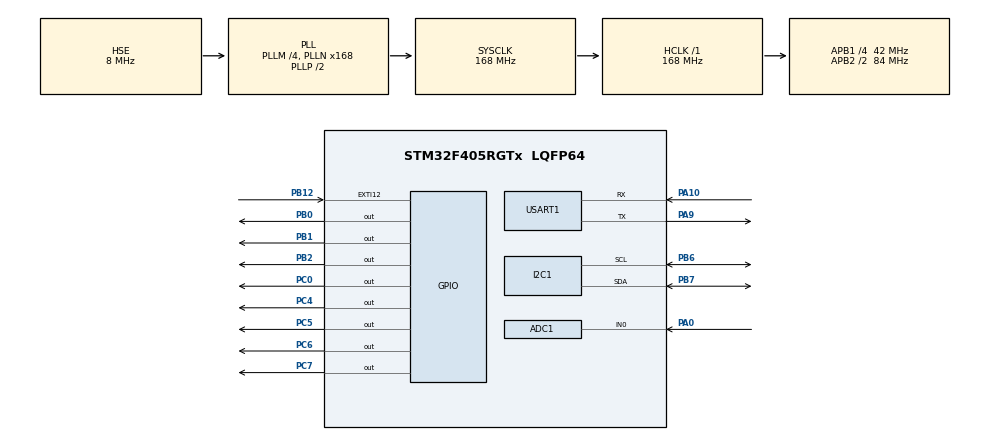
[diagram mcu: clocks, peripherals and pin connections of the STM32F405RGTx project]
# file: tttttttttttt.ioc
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ADC1.Channel-0\#ChannelRegularConversion=ADC_CHANNEL_0
ADC1.ContinuousConvMode=ENABLE
ADC1.DMAContinuousRequests=ENABLE
ADC1.NbrOfConversionFlag=1
ADC1.Rank-0\#ChannelRegularConversion=1
ADC1.SamplingTime-0\#ChannelRegularConversion=ADC_SAMPLETIME_56CYCLES
ADC1.master=1
Dma.ADC1.0.Direction=DMA_PERIPH_TO_MEMORY
Dma.ADC1.0.FIFOMode=DMA_FIFOMODE_DISABLE
Dma.ADC1.0.Instance=DMA2_Stream0
Dma.ADC1.0.MemDataAlignment=DMA_MDATAALIGN_HALFWORD
Dma.ADC1.0.MemInc=DMA_MINC_ENABLE
Dma.ADC1.0.Mode=DMA_CIRCULAR
Dma.ADC1.0.PeriphDataAlignment=DMA_PDATAALIGN_HALFWORD
Dma.ADC1.0.PeriphInc=DMA_PINC_DISABLE
Dma.ADC1.0.Priority=DMA_PRIORITY_LOW
Dma.Request0=ADC1
Dma.Request1=USART1_RX
Dma.Request2=USART1_TX
Dma.USART1_RX.1.Direction=DMA_PERIPH_TO_MEMORY
Dma.USART1_RX.1.FIFOMode=DMA_FIFOMODE_DISABLE
Dma.USART1_RX.1.Instance=DMA2_Stream2
Dma.USART1_RX.1.MemDataAlignment=DMA_MDATAALIGN_BYTE
Dma.USART1_RX.1.MemInc=DMA_MINC_ENABLE
Dma.USART1_RX.1.Mode=DMA_NORMAL
Dma.USART1_RX.1.PeriphDataAlignment=DMA_PDATAALIGN_BYTE
Dma.USART1_RX.1.PeriphInc=DMA_PINC_DISABLE
Dma.USART1_RX.1.Priority=DMA_PRIORITY_LOW
Dma.USART1_TX.2.Direction=DMA_MEMORY_TO_PERIPH
Dma.USART1_TX.2.FIFOMode=DMA_FIFOMODE_DISABLE
Dma.USART1_TX.2.Instance=DMA2_Stream7
Dma.USART1_TX.2.MemDataAlignment=DMA_MDATAALIGN_BYTE
Dma.USART1_TX.2.MemInc=DMA_MINC_ENABLE
Dma.USART1_TX.2.Mode=DMA_NORMAL
Dma.USART1_TX.2.PeriphDataAlignment=DMA_PDATAALIGN_BYTE
Dma.USART1_TX.2.PeriphInc=DMA_PINC_DISABLE
Dma.USART1_TX.2.Priority=DMA_PRIORITY_LOW
I2C1.I2C_Mode=I2C_Fast
Mcu.Family=STM32F4
Mcu.Name=STM32F405RGTx
Mcu.Package=LQFP64
NVIC.DMA2_Stream0_IRQn=true\:0\:0\:false\:false\:true\:false\:true
NVIC.DMA2_Stream2_IRQn=true\:0\:0\:false\:false\:true\:false\:true
NVIC.DMA2_Stream7_IRQn=true\:0\:0\:false\:false\:true\:false\:true
NVIC.PriorityGroup=NVIC_PRIORITYGROUP_4
NVIC.USART1_IRQn=true\:0\:0\:false\:false\:true\:true\:true
PA0-WKUP.Signal=ADCx_IN0
PA10.Mode=Asynchronous
PA10.Signal=USART1_RX
PA13.Mode=Serial_Wire
PA13.Signal=SYS_JTMS-SWDIO
PA14.Mode=Serial_Wire
PA14.Signal=SYS_JTCK-SWCLK
PA9.Mode=Asynchronous
PA9.Signal=USART1_TX
PB0.Signal=GPIO_Output
PB1.Signal=GPIO_Output
PB12.Signal=GPXTI12
PB2.Signal=GPIO_Output
PB6.Mode=I2C
PB6.Signal=I2C1_SCL
PB7.Mode=I2C
PB7.Signal=I2C1_SDA
PC0.Signal=GPIO_Output
PC4.Signal=GPIO_Output
PC5.Signal=GPIO_Output
PC6.Signal=GPIO_Output
PC7.Signal=GPIO_Output
PH0-OSC_IN.Mode=HSE-External-Oscillator
PH0-OSC_IN.Signal=RCC_OSC_IN
PH1-OSC_OUT.Mode=HSE-External-Oscillator
PH1-OSC_OUT.Signal=RCC_OSC_OUT
ProjectManager.HeapSize=0x200
ProjectManager.StackSize=0x400
ProjectManager.TargetToolchain=EWARM V8.32
RCC.48MHZClocksFreq_Value=84000000
RCC.AHBFreq_Value=168000000
RCC.APB1CLKDivider=RCC_HCLK_DIV4
RCC.APB1Freq_Value=42000000
RCC.APB1TimFreq_Value=84000000
RCC.APB2CLKDivider=RCC_HCLK_DIV2
RCC.APB2Freq_Value=84000000
RCC.APB2TimFreq_Value=168000000
RCC.CortexFreq_Value=168000000
RCC.HCLKFreq_Value=168000000
RCC.HSE_VALUE=8000000
RCC.HSI_VALUE=16000000
RCC.LSE_VALUE=32768
RCC.PLLM=4
RCC.PLLN=168
RCC.PLLSourceVirtual=RCC_PLLSOURCE_HSE
RCC.SYSCLKFreq_VALUE=168000000
RCC.SYSCLKSource=RCC_SYSCLKSOURCE_PLLCLK
RCC.VCOOutputFreq_Value=336000000
SH.ADCx_IN0.0=ADC1_IN0,IN0
USART1.VirtualMode=VM_ASYNC
board=custom

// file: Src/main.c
/* USER CODE BEGIN Header */
/**
  ******************************************************************************
  * @file           : main.c
  * @brief          : Main program body
  ******************************************************************************
  * @attention
  *
  * <h2><center>&copy; Copyright (c) 2020 STMicroelectronics.
  * All rights reserved.</center></h2>
  *
  * This software component is licensed by ST under BSD 3-Clause license,
  * the "License"; You may not use this file except in compliance with the
  * License. You may obtain a copy of the License at:
  *                        opensource.org/licenses/BSD-3-Clause
  *
  ******************************************************************************
  */
/* USER CODE END Header */

#include "main.h"
#include "adc.h"
#include "dma.h"
#include "i2c.h"
#include "usart.h"
#include "gpio.h"

/* USER CODE BEGIN Includes */
#include "stdio.h"
#include "lcd.h"
/* USER CODE END Includes */

/* USER CODE BEGIN PD */
#define SHT2x_ADDR              0x40<<1
#define SHT2x_HOLD_MASTER_T     0xE3
#define SHT2x_HOLD_MASTER_RH    0xE5
#define SHT2x_NOHOLD_MASTER_T   0xF3
#define SHT2x_NOHOLD_MASTER_RH  0xF5
#define SHT2x_WRITE_USER_REG    0xE6
#define SHT2x_READ_USER_REG     0xE7
#define SHT2x_SOFT_RESET        0xFE
/* USER CODE END PD */

/* USER CODE BEGIN PV */
uint8_t rxData; // USART 입력값
unsigned char menu = 0;
unsigned char pianoN = 0;
uint8_t txBuf[] = "+++ Menu +++\n\r L : LED \n\r C : CDS \n\r 0~7 : PIANO \n\r T : temperature \n\r push button : stop \n\r";
uint8_t rxBuf[104];

// 온습도
uint8_t i2cData[2];
uint16_t val = 0;
uint8_t mode;
float TEMP, HUMI;
char str[16];

// CDS
uint16_t adcData = 0;
char cds[10];

unsigned char Time_STOP = 0;

unsigned int DoReMi[8] = {523, 587, 659, 698, 783, 880, 987, 1046};
unsigned long pwmfreq;
unsigned char pch = 0;

/* USER CODE END PV */

void SystemClock_Config(void);
/* USER CODE BEGIN PFP */
int fputc(int ch, FILE *stream)
{
  HAL_UART_Transmit(&huart1, (uint8_t*)&ch, 1, 10);
  return ch;
}
/* USER CODE END PFP */

int main(void)
{
  /* USER CODE BEGIN 1 */
  uint16_t CCR1_val = 0;
  /* USER CODE END 1 */

  /* MCU Configuration--------------------------------------------------------*/

  /* Reset of all peripherals, Initializes the Flash interface and the Systick. */
  HAL_Init();

  /* Configure the system clock */
  SystemClock_Config();

  /* Initialize all configured peripherals */
  MX_GPIO_Init();
  MX_DMA_Init();
  MX_ADC1_Init();
  MX_I2C1_Init();
  MX_USART1_UART_Init();
  /* USER CODE BEGIN 2 */
  HAL_UART_Receive_IT(&huart1, &rxData, 1); // main에서 인터럽트를 한번 실행(open) 해줘야 동작함

  HAL_UART_Receive_DMA(&huart1, rxBuf, sizeof(rxBuf));
  HAL_UART_Transmit_DMA(&huart1, txBuf, sizeof(txBuf));

  // CDS
  HAL_ADC_Start_DMA(&hadc1, (uint32_t*)&adcData, sizeof(adcData));

  lcdInit();
  lcdGotoXY(0, 0);

  // TIM2
  HAL_TIM_PWM_Start(&htim2, TIM_CHANNEL_1); // 스타트를 시켜줘야함
  /* USER CODE END 2 */

  /* Infinite loop */
  /* USER CODE BEGIN WHILE */
  while (1)
  {
    if(menu == 1)
    {
      TIM2->CCR1 = CCR1_val;
      CCR1_val++;
      if(CCR1_val > 100) CCR1_val = 0;
      HAL_Delay(10);
    }
     else if(menu == 2)
    {
      lcdClear();
      lcdPrintData("ADC POLLTEST", 12);
      sprintf(cds, "ADC : %d", adcData);
      lcdGotoXY(0, 1);
      lcdPrint(cds);
      HAL_Delay(100);
    }
    else if (menu == 3)
    {
      lcdClear();
      mode = SHT2x_NOHOLD_MASTER_T;
      HAL_I2C_Master_Transmit(&hi2c1, SHT2x_ADDR, &mode, 1, 10);
      HAL_Delay(100);
      HAL_I2C_Master_Receive(&hi2c1, SHT2x_ADDR, i2cData, 2, 10);
      val = i2cData[0] << 8| i2cData[1];
      TEMP = -46.85 + 175.72 * ((float)val / 65536);
      lcdGotoXY(0,0);
      sprintf(str, "TEMP : %5.2lf", TEMP);
      lcdPrint(str);

      mode = SHT2x_NOHOLD_MASTER_RH;
      HAL_I2C_Master_Transmit(&hi2c1, SHT2x_ADDR, &mode, 1, 10);
      HAL_Delay(100);
      HAL_I2C_Master_Receive(&hi2c1, SHT2x_ADDR, i2cData, 2, 10);
      val = i2cData[0] << 8| i2cData[1];
      HUMI = -6 + 125 * ((float)val / 65536);
      lcdGotoXY(0,1);
      sprintf(str, "HUMI : %5.2lf", HUMI);
      lcdPrint(str);
    }

    if((pianoN >= '0') && (pianoN <= '7')) {
      TIM2->EGR = TIM2->EGR & 0xFE;
      pwmfreq = 84000000/DoReMi[pch-'0'];
      TIM2->ARR = pwmfreq-1;
      TIM2->CCR2 = pwmfreq/2;
      HAL_Delay(100);
      TIM2->EGR = TIM2->EGR | 0x01;
    }

    if(Time_STOP == 1)
    {
      printf("stop");
    }

    HAL_Delay(250);
    /* USER CODE END WHILE */

  }
}

void SystemClock_Config(void)
{
  RCC_OscInitTypeDef RCC_OscInitStruct = {0};
  RCC_ClkInitTypeDef RCC_ClkInitStruct = {0};

  /** Configure the main internal regulator output voltage
  */
  __HAL_RCC_PWR_CLK_ENABLE();
  __HAL_PWR_VOLTAGESCALING_CONFIG(PWR_REGULATOR_VOLTAGE_SCALE1);
  /** Initializes the CPU, AHB and APB busses clocks
  */
  RCC_OscInitStruct.OscillatorType = RCC_OSCILLATORTYPE_HSE;
  RCC_OscInitStruct.HSEState = RCC_HSE_ON;
  RCC_OscInitStruct.PLL.PLLState = RCC_PLL_ON;
  RCC_OscInitStruct.PLL.PLLSource = RCC_PLLSOURCE_HSE;
  RCC_OscInitStruct.PLL.PLLM = 4;
  RCC_OscInitStruct.PLL.PLLN = 168;
  RCC_OscInitStruct.PLL.PLLP = RCC_PLLP_DIV2;
  RCC_OscInitStruct.PLL.PLLQ = 4;
  if (HAL_RCC_OscConfig(&RCC_OscInitStruct) != HAL_OK)
  {
    Error_Handler();
  }
  /** Initializes the CPU, AHB and APB busses clocks
  */
  RCC_ClkInitStruct.ClockType = RCC_CLOCKTYPE_HCLK|RCC_CLOCKTYPE_SYSCLK
                              |RCC_CLOCKTYPE_PCLK1|RCC_CLOCKTYPE_PCLK2;
  RCC_ClkInitStruct.SYSCLKSource = RCC_SYSCLKSOURCE_PLLCLK;
  RCC_ClkInitStruct.AHBCLKDivider = RCC_SYSCLK_DIV1;
  RCC_ClkInitStruct.APB1CLKDivider = RCC_HCLK_DIV4;
  RCC_ClkInitStruct.APB2CLKDivider = RCC_HCLK_DIV2;

  if (HAL_RCC_ClockConfig(&RCC_ClkInitStruct, FLASH_LATENCY_5) != HAL_OK)
  {
    Error_Handler();
  }
}

/* USER CODE BEGIN 4 */
void HAL_UART_RxCpltCallback(UART_HandleTypeDef *huart)
{
  if(huart->Instance == USART1)
  {
    HAL_UART_Receive_IT(&huart1, &rxData, 1);
    HAL_UART_Transmit(&huart1, &rxData, 1, 10);

    if(rxData == 'L') menu = 1;
    else if(rxData == 'C') menu = 2;
    else if((rxData >= '0') && (rxData <= '7')) pianoN = rxData;
    else if(rxData == 'T') menu = 3;
  }
}

// 인터럽트
void HAL_GPIO_EXTI_Callback(uint16_t GPIO_Pin)
{
  if(HAL_GPIO_ReadPin(GPIOB, GPIO_PIN_14)){ // LED제어, 스위치 1
    if(Time_STOP == 0) Time_STOP = 1;
    else Time_STOP = 0;
  }
}
/* USER CODE END 4 */

void Error_Handler(void)
{
}

/************************ (C) COPYRIGHT STMicroelectronics *****END OF FILE****/
